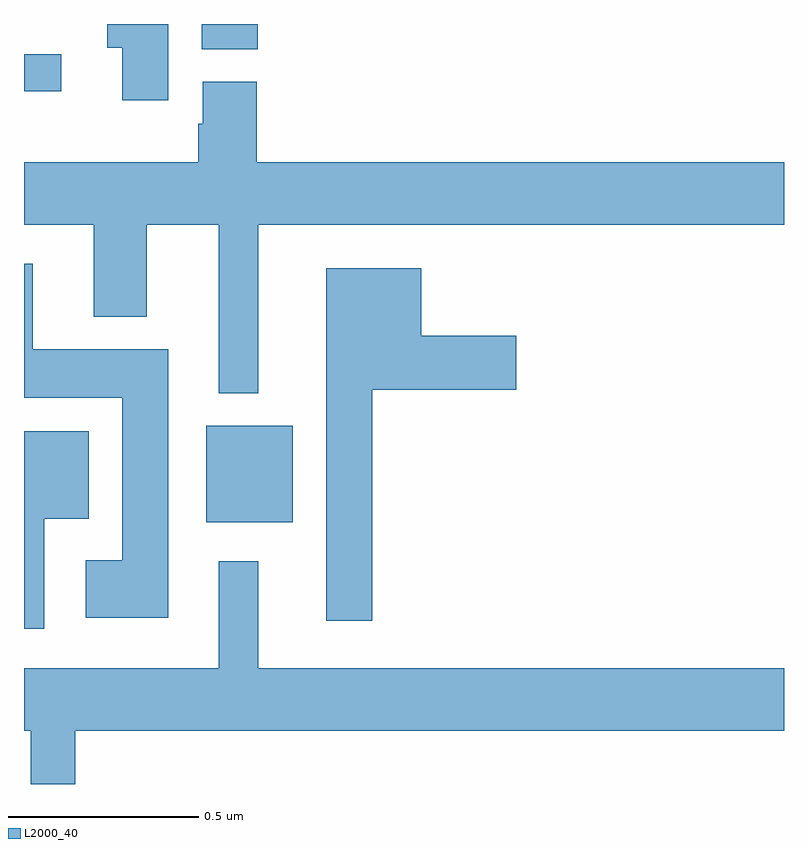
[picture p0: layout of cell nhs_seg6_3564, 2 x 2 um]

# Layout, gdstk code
import gdstk
lib = gdstk.Library(unit=1e-6, precision=1e-09)
def R(c, l, rs):  # rectangles x0, y0, x1, y1
    for r in rs: c.add(gdstk.rectangle(r[:2], r[2:], *l))
def P(c, l, *ps):  # polygons
    for p in ps: c.add(gdstk.Polygon(p, *l))
L2000_40 = (2000, 40)

nhs_seg6_3564 = lib.new_cell('nhs_seg6_3564')
R(nhs_seg6_3564, L2000_40, [(158.48,977.189,158.707,977.443), (158,978.323,158.098,978.42), (158.468,978.433,158.615,978.5)])
P(nhs_seg6_3564, L2000_40, [(158.38,978.5),(158.219,978.5),(158.219,978.437),(158.258,978.437),(158.258,978.3),(158.38,978.3)],
  [(158.617,977.972),(160,977.972),(160,978.136),(158.612,978.136),(158.612,978.348),(158.471,978.348),(158.471,978.237),(158.459,978.237),(158.459,978.136),(158,978.136),(158,977.972),(158.183,977.972),(158.183,977.729),(158.323,977.729),(158.323,977.972),(158.513,977.972),(158.513,977.528),(158.617,977.528)],
  [(158.38,977.644),(158.023,977.644),(158.023,977.869),(158,977.869),(158,977.516),(158.258,977.516),(158.258,977.089),(158.163,977.089),(158.163,976.937),(158.38,976.937)],
  [(158.917,977.537),(159.295,977.537),(159.295,977.679),(159.046,977.679),(159.046,977.857),(158.795,977.857),(158.795,976.929),(158.917,976.929)],
  [(158.053,977.198),(158.17,977.198),(158.17,977.428),(158,977.428),(158,976.908),(158.053,976.908)],
  [(158.135,976.64),(160,976.64),(160,976.804),(158.617,976.804),(158.617,977.086),(158.513,977.086),(158.513,976.804),(158,976.804),(158,976.64),(158.018,976.64),(158.018,976.5),(158.135,976.5)])

lib.write_gds('nhs_seg6_3564.gds')
